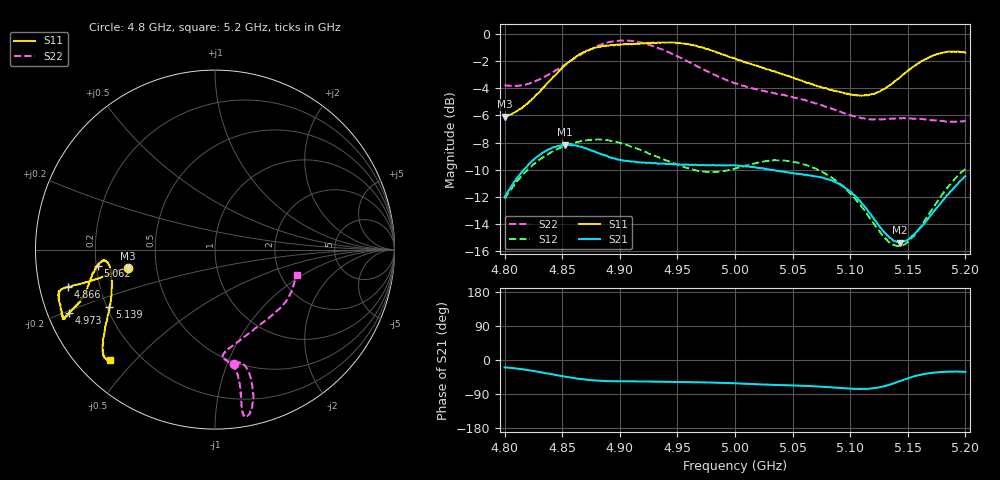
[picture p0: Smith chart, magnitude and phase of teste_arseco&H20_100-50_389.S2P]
! Network Analyzer HP8722D
! Hewlett-Packard
! Data name: Linha & Wilkinson
! Saver's name: Rodrigo Anjos
! Comments: Teste da utilização de aquisição
! continua pelo VNA HP8722D
! Time and date: 6/5/2025 15:48
!  Frequency  S11  S21  S12  S22
# HZ  S  MA R 50
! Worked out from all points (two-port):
!   401 points, 4.8 GHz to 5.2 GHz, reference 50 ohm
!   highest |S21| = -8.16 dB at 4.852 GHz (marker M1); lowest = -15.4 dB at 5.143 GHz (marker M2)
!   |S21| within 3 dB of the highest: 4.806 GHz to 5.093 GHz (286.9 MHz wide, 5.8 % of centre); 5.191963 GHz to end of sweep
!   lowest |S11| = -6.1 dB at 4.8 GHz (marker M3), VSWR 2.97, Z = 17 - j4.61 ohm
!   |S11| at or under -10 dB: nowhere
!   |S22| runs from -6.5 to -0.5 dB; largest |S21 - S12| = 0.62
!   S11 on the Smith chart (normalised r, x): 4.8 GHz: 0.34, -0.09; 4.866 GHz: 0.09, -0.12; 4.973 GHz: 0.06, -0.21; 5.062 GHz: 0.21, -0.07; 5.139 GHz: 0.21, -0.24; 5.2 GHz: 0.09, -0.43
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4.8e9  0.4964 -168.1  0.2511 -19.6  0.2478 -140.7  0.648 -80.4
4.823e9  0.5695 -167.4  0.3373 -28.0  0.3245 -143.5  0.6599 -75.9
4.852e9  0.7625 -165.8  0.3908 -43.6  0.3864 -149.2  0.7675 -74.5
4.866e9  0.8439 -165.8  0.384 -50.2  0.4027 -151.6  0.8363 -75.2
4.867e9  0.8474 -165.8  0.3846 -50.5  0.4033 -151.8  0.8429 -75.3
4.883e9  0.8958 -164.9  0.3615 -54.9  0.4084 -154.5  0.9107 -77.0
4.9e9  0.9114 -162.5  0.3441 -56.2  0.397 -156.4  0.9433 -79.0
4.934e9  0.9305 -156.3  0.3325 -57.4  0.3517 -155.5  0.8836 -80.3
4.973e9  0.8889 -156.5  0.3291 -59.3  0.3112 -145.7  0.738 -79.7
5e9  0.8102 -158.8  0.3283 -61.7  0.3195 -137.1  0.6569 -81.2
5.036e9  0.7228 -165.5  0.314 -65.8  0.3425 -134.2  0.6017 -85.6
5.062e9  0.6595 -172.1  0.303 -68.4  0.3288 -136.2  0.5678 -83.8
5.067e9  0.6531 -172.9  0.3006 -69.0  0.3233 -136.7  0.5591 -82.6
5.082e9  0.6219 -174.4  0.2912 -71.8  0.2997 -138.1  0.5339 -77.2
5.101e9  0.5976 -171.9  0.2614 -75.7  0.256 -138.7  0.5011 -66.5
5.117e9  0.5971 -164.7  0.219 -75.6  0.2099 -135.1  0.485 -55.2
5.134e9  0.6447 -154.1  0.1781 -65.4  0.171 -120.8  0.4868 -43.3
5.139e9  0.6705 -151.4  0.1728 -60.2  0.1666 -114.4  0.4884 -40.3
5.143e9  0.6909 -149.2  0.1707 -56.0  0.166 -109.1  0.4888 -38.1
5.154e9  0.7552 -144.4  0.1814 -44.6  0.1787 -95.1  0.4874 -32.3
5.173e9  0.8352 -138.8  0.2235 -33.3  0.2327 -80.7  0.4811 -24.3
5.2e9  0.8522 -133.6  0.2994 -31.2  0.3187 -76.8  0.4777 -17.4
